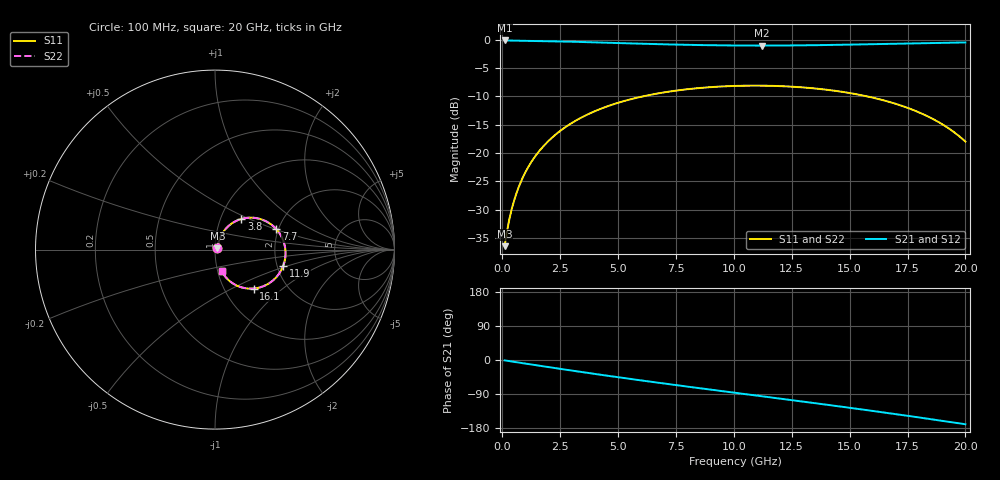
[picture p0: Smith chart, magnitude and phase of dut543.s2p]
! Touchstone file exported from HFSS 2026.1.0
!  File:  C:/ffzhzh/LocalFiles/Ansys_Project_Files/temp_train_TSV_RDL_543_1783113931_50312.aedt
!  Generated:  05:36:17 AM Jul  4, 2026
!  Design:  TSV_RDL
!  Project:  temp_train_TSV_RDL_543_1783113931_50312
! Variables:
!  h_bsmrdl = 4.09um
!  h_ox = 20um
!  h_rdl = 5um
!  h_sub = 80.86um
!  h_tmrdl = 3.62um
!  h_tsv = 80.86um
!  h_via = 3um
!  l_bsmrdl = 309.55um
!  l_sub = 2754.84um
!  l_tmrdl = 323.66um
!  m_sub = 200um
!  pitch = 39.08um
!  r_tsv = 5.62um
!  s_tmrdl = 10um
!  w_bsmrdl = 14.18um
!  w_sub = 500um
!  w_tmrdl = 29.67um
!  x_tsv_center1 = 338.495um
!  x_tsv_center2 = 662.225um
!  x_tsv_center3 = 1015.555um
!  x_tsv_center4 = 1339.285um
!  x_tsv_center5 = 1692.615um
!  x_tsv_center6 = 2016.345um
# GHz S MA R 50.000000
! Terminal data exported
! Port[1] = TM_RDL1_1_T1
! Port[2] = TM_RDL5_1_T1
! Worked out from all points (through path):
!   200 points, 100 MHz to 20 GHz, reference 50 ohm
!   highest |S21| = -0.11 dB at 100 MHz (marker M1); lowest = -1.0 dB at 11.2 GHz (marker M2)
!   group delay of S21, straight-line fit = 23 ps
!   lowest |S11| = -36.4 dB at 100 MHz (marker M3), VSWR 1.03, Z = 51.3 + j0.756 ohm
!   |S11| at or under -10 dB: start of sweep to 6.058 GHz; 15.77 GHz to end of sweep
!   |S22| runs from -36.4 to -8.1 dB; largest |S21 - S12| = 3.2e-14
!   S11 on the Smith chart (normalised r, x): 100 MHz: 1.03, +0.02; 3.8 GHz: 1.25, +0.45; 7.7 GHz: 1.95, +0.51; 11.9 GHz: 2.16, -0.46; 16.1 GHz: 1.37, -0.65; 20 GHz: 1.05, -0.26
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0.1  0.01506 29.3  0.987 -1.0  0.987 -1.0  0.01506 29.3
! Gamma 0 0 0 0
! Port Impedance 50 0 50 0
0.3  0.02577 53.0  0.9854 -2.9  0.9854 -2.9  0.02577 53.0
0.5  0.03747 61.0  0.9841 -4.8  0.9841 -4.8  0.03747 61.0
0.8  0.05558 65.5  0.9824 -7.6  0.9824 -7.6  0.05558 65.5
1.2  0.0801 66.4  0.9799 -11.4  0.9799 -11.4  0.0801 66.4
1.7  0.1104 64.6  0.976 -16.0  0.976 -16.0  0.1104 64.6
2.2  0.1398 61.6  0.9713 -20.6  0.9713 -20.6  0.1398 61.6
3.5  0.2101 51.8  0.9561 -32.4  0.9561 -32.4  0.2101 51.8
3.8  0.2249 49.4  0.9522 -35.0  0.9522 -35.0  0.2249 49.4
5.3  0.2895 37.3  0.9324 -48.0  0.9324 -48.0  0.2895 37.3
6.8  0.3385 25.4  0.9144 -60.5  0.9144 -60.5  0.3385 25.4
7.7  0.3603 18.4  0.9054 -67.8  0.9054 -67.8  0.3603 18.4
10.1  0.3919 0.2  0.891 -86.9  0.891 -86.9  0.3919 0.2
11.2  0.3937 -8.1  0.8895 -95.6  0.8895 -95.6  0.3937 -8.1
11.9  0.3907 -13.4  0.8902 -101.1  0.8902 -101.1  0.3907 -13.3
13.4  0.3737 -24.7  0.8958 -113.0  0.8958 -113.0  0.3736 -24.6
14.8  0.3443 -35.3  0.9052 -124.4  0.9052 -124.4  0.3442 -35.3
16.1  0.3052 -45.3  0.9164 -135.3  0.9164 -135.3  0.3052 -45.3
16.7  0.2834 -49.9  0.922 -140.4  0.922 -140.4  0.2834 -49.9
18.6  0.1998 -64.2  0.9387 -157.0  0.9387 -157.0  0.1998 -64.0
19.4  0.1588 -69.5  0.9443 -164.1  0.9443 -164.1  0.1588 -69.3
20  0.1263 -72.7  0.9476 -169.6  0.9476 -169.6  0.1263 -72.5
